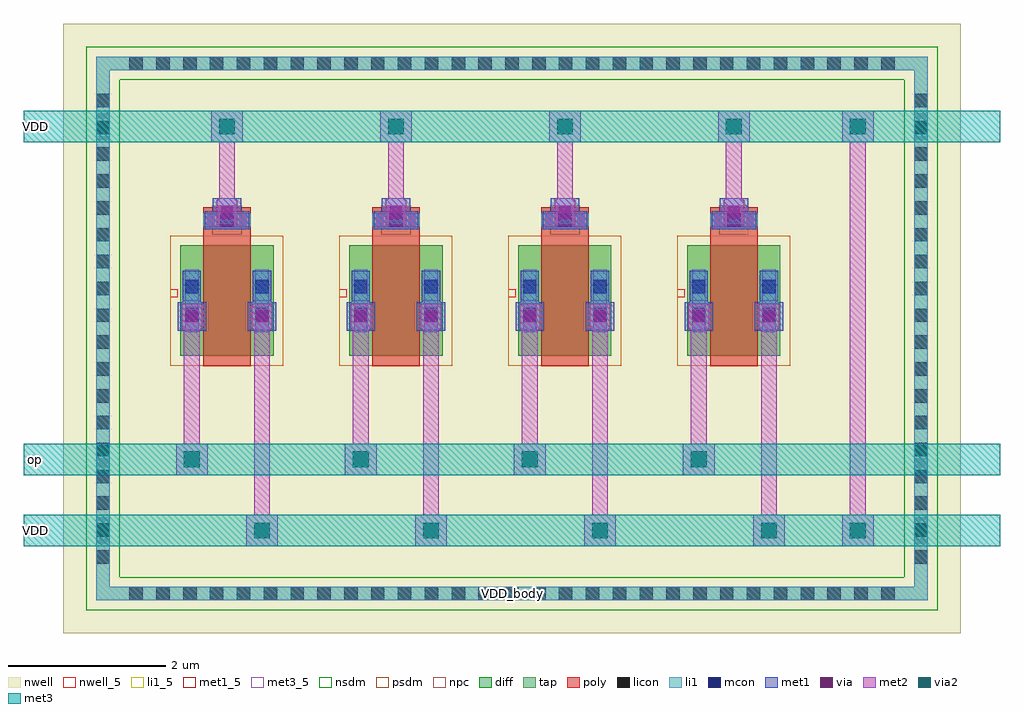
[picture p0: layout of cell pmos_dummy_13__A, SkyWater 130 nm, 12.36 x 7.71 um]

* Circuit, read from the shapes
.subckt pmos_dummy_13__A VDD VDD_body op
XM1 VDD VDD op VDD_body sky130_fd_pr__pfet_01v8 w=1.4 l=0.6 m=4
.ends

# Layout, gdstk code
import gdstk
lib = gdstk.Library(unit=1e-6, precision=1e-09)
def R(c, l, rs):  # rectangles x0, y0, x1, y1
    for r in rs: c.add(gdstk.rectangle(r[:2], r[2:], *l))
def A(c, l, x, y, w, h, nx, ny, dx, dy):  # array of equal rectangles
    R(c, l, [(x+i*dx, y+j*dy, x+i*dx+w, y+j*dy+h) for i in range(nx) for j in range(ny)])
nwell_5 = (64, 5)
nwell = (64, 20)
diff = (65, 20)
tap = (65, 44)
poly = (66, 20)
licon = (66, 44)
li1_5 = (67, 5)
li1 = (67, 20)
mcon = (67, 44)
met1_5 = (68, 5)
met1 = (68, 20)
via = (68, 44)
met2 = (69, 20)
via2 = (69, 44)
met3_5 = (70, 5)
met3 = (70, 20)
nsdm = (93, 44)
psdm = (94, 20)
npc = (95, 20)

sky130_fd_pr__pfet_01v8_ = lib.new_cell('sky130_fd_pr__pfet_01v8_FGX5XW')
R(sky130_fd_pr__pfet_01v8_, nwell, [(-0.77,-1.19,0.77,1.02)])
R(sky130_fd_pr__pfet_01v8_, diff, [(-0.59,-0.88,0.59,0.52)])
R(sky130_fd_pr__pfet_01v8_, poly, [(-0.3,-1.01,0.3,1.005)])
R(sky130_fd_pr__pfet_01v8_, licon, [(-0.53,-0.435,-0.36,-0.265), (0.36,-0.435,0.53,-0.265), (-0.53,-0.095,-0.36,0.075), (0.36,-0.095,0.53,0.075), (-0.085,0.755,0.085,0.925)])
R(sky130_fd_pr__pfet_01v8_, li1, [(-0.53,-0.58,-0.36,0.22), (0.36,-0.58,0.53,0.22), (-0.3,0.755,0.3,0.925)])
R(sky130_fd_pr__pfet_01v8_, mcon, [(-0.53,-0.445,-0.36,-0.275), (0.36,-0.445,0.53,-0.275), (-0.53,-0.085,-0.36,0.085), (0.36,-0.085,0.53,0.085), (-0.085,0.755,0.085,0.925)])
R(sky130_fd_pr__pfet_01v8_, met1, [(-0.56,-0.56,-0.33,0.2), (0.33,-0.56,0.56,0.2), (-0.28,0.725,0.28,0.955)])
R(sky130_fd_pr__pfet_01v8_, psdm, [(-0.715,-1.005,0.715,0.645)])
R(sky130_fd_pr__pfet_01v8_, npc, [(-0.185,0.655,0.185,1.025)])
sky130_fd_pr__pfet_01v8_.add(gdstk.Label('D', (-0.445,-0.18), layer=67, texttype=5))
sky130_fd_pr__pfet_01v8_.add(gdstk.Label('S', (0.445,-0.18), layer=67, texttype=5))
sky130_fd_pr__pfet_01v8_.add(gdstk.Label('G', (0,0.84), layer=67, texttype=5))

pfet_01v8_w1p4_l0p6_m4__ = lib.new_cell('pfet_01v8_W1p4_L0p6_m4__nf1_gtop_sdhalf_ng')
R(pfet_01v8_w1p4_l0p6_m4__, nwell_5, [(0.05,1.055,0.15,1.155)])
R(pfet_01v8_w1p4_l0p6_m4__, nwell, [(0.05,1.055,0.15,1.155)])
R(pfet_01v8_w1p4_l0p6_m4__, met1_5, [(0.21,1.01,0.44,1.21), (1.1,1.01,1.33,1.21), (0.49,1.915,1.05,2.145)])
R(pfet_01v8_w1p4_l0p6_m4__, met1, [(0.21,1.01,0.44,1.21), (1.1,1.01,1.33,1.21), (0.49,1.915,1.05,2.145)])
pfet_01v8_w1p4_l0p6_m4__.add(gdstk.Reference(sky130_fd_pr__pfet_01v8_, (0.77,1.19)))
pfet_01v8_w1p4_l0p6_m4__.add(gdstk.Label('D', (0.325,1.11), layer=68, texttype=5))
pfet_01v8_w1p4_l0p6_m4__.add(gdstk.Label('S', (1.215,1.11), layer=68, texttype=5))
pfet_01v8_w1p4_l0p6_m4__.add(gdstk.Label('G', (0.77,2.03), layer=68, texttype=5))
pfet_01v8_w1p4_l0p6_m4__.add(gdstk.Label('B', (0.1,1.105), layer=64, texttype=5))

pmos_dummy_13__a = lib.new_cell('pmos_dummy_13__A')
R(pmos_dummy_13__a, nwell, [(-1.3,-3.2,10.06,4.515)])
R(pmos_dummy_13__a, tap, [(-0.885,-2.785,9.645,-2.615), (-0.885,-2.615,-0.715,3.93), (9.475,-2.615,9.645,3.93), (-0.885,3.93,9.645,4.1)])
A(pmos_dummy_13__a, licon, -0.465, -2.785, 0.17, 0.17, 29, 2, 0.34, 6.715)
A(pmos_dummy_13__a, licon, -0.885, -2.32, 0.17, 0.17, 1, 18, 0, 0.34)
A(pmos_dummy_13__a, licon, 9.475, -2.32, 0.17, 0.17, 1, 18, 0, 0.34)
R(pmos_dummy_13__a, li1_5, [(4.33,-2.75,4.43,-2.65)])
R(pmos_dummy_13__a, li1, [(-0.885,-2.785,9.645,-2.615), (-0.885,-2.615,-0.715,3.93), (9.475,-2.615,9.645,3.93), (-0.885,3.93,9.645,4.1)])
A(pmos_dummy_13__a, met1, 0.59, 1.945, 0.36, 0.36, 4, 1, 2.14, 0)
R(pmos_dummy_13__a, met1, [(0.145,0.63,0.505,0.99), (1.035,0.63,1.395,0.99), (2.285,0.63,2.645,0.99), (3.175,0.63,3.535,0.99), (4.425,0.63,4.785,0.99), (5.315,0.63,5.675,0.99), (6.565,0.63,6.925,0.99), (7.455,0.63,7.815,0.99)])
A(pmos_dummy_13__a, via, 0.695, 2.05, 0.15, 0.15, 4, 1, 2.14, 0)
R(pmos_dummy_13__a, via, [(0.25,0.735,0.4,0.885), (1.14,0.735,1.29,0.885), (2.39,0.735,2.54,0.885), (3.28,0.735,3.43,0.885), (4.53,0.735,4.68,0.885), (5.42,0.735,5.57,0.885), (6.67,0.735,6.82,0.885), (7.56,0.735,7.71,0.885)])
A(pmos_dummy_13__a, met2, 1.015, -2.1, 0.4, 0.4, 4, 1, 2.14, 0)
A(pmos_dummy_13__a, met2, 1.115, -1.7, 0.2, 2.35, 4, 1, 2.14, 0)
A(pmos_dummy_13__a, met2, 0.125, -1.2, 0.4, 0.4, 4, 1, 2.14, 0)
A(pmos_dummy_13__a, met2, 0.225, -0.8, 0.2, 1.45, 4, 1, 2.14, 0)
A(pmos_dummy_13__a, met2, 0.64, 1.965, 0.26, 0.32, 4, 1, 2.14, 0)
A(pmos_dummy_13__a, met2, 0.67, 2.285, 0.2, 0.73, 4, 1, 2.14, 0)
A(pmos_dummy_13__a, met2, 0.57, 3.015, 0.4, 0.4, 4, 1, 2.14, 0)
R(pmos_dummy_13__a, met2, [(8.56,-2.1,8.96,-1.7), (8.66,-1.7,8.86,3.015), (0.195,0.65,0.455,0.97), (1.085,0.65,1.345,0.97), (2.335,0.65,2.595,0.97), (3.225,0.65,3.485,0.97), (4.475,0.65,4.735,0.97), (5.365,0.65,5.625,0.97), (6.615,0.65,6.875,0.97), (7.505,0.65,7.765,0.97), (8.56,3.015,8.96,3.415)])
A(pmos_dummy_13__a, via2, 1.115, -2, 0.2, 0.2, 4, 1, 2.14, 0)
A(pmos_dummy_13__a, via2, 0.225, -1.1, 0.2, 0.2, 4, 1, 2.14, 0)
A(pmos_dummy_13__a, via2, 0.67, 3.115, 0.2, 0.2, 4, 1, 2.14, 0)
R(pmos_dummy_13__a, via2, [(8.66,-2,8.86,-1.8), (8.66,3.115,8.86,3.315)])
R(pmos_dummy_13__a, met3_5, [(-1.7,-1.95,-1.6,-1.85), (-1.7,-1.05,-1.6,-0.95), (-1.7,3.165,-1.6,3.265)])
R(pmos_dummy_13__a, met3, [(-1.8,-2.1,10.56,-1.7), (-1.8,-1.2,10.56,-0.8), (-1.8,3.015,10.56,3.415)])
R(pmos_dummy_13__a, nsdm, [(-1.01,-2.91,9.77,-2.49), (-1.01,-2.49,-0.59,3.805), (9.35,-2.49,9.77,3.805), (-1.01,3.805,9.77,4.225)])
pmos_dummy_13__a.add(gdstk.Reference(pfet_01v8_w1p4_l0p6_m4__, (6.42,0)))
pmos_dummy_13__a.add(gdstk.Reference(pfet_01v8_w1p4_l0p6_m4__, (4.28,0)))
pmos_dummy_13__a.add(gdstk.Reference(pfet_01v8_w1p4_l0p6_m4__, (2.14,0)))
pmos_dummy_13__a.add(gdstk.Reference(pfet_01v8_w1p4_l0p6_m4__, (0,0)))
pmos_dummy_13__a.add(gdstk.Label('VDD', (-1.65,3.215), layer=70, texttype=5))
pmos_dummy_13__a.add(gdstk.Label('op', (-1.65,-1), layer=70, texttype=5))
pmos_dummy_13__a.add(gdstk.Label('VDD', (-1.65,-1.9), layer=70, texttype=5))
pmos_dummy_13__a.add(gdstk.Label('VDD_body', (4.38,-2.7), layer=67, texttype=5))

lib.write_gds('pmos_dummy_13__A.gds')
